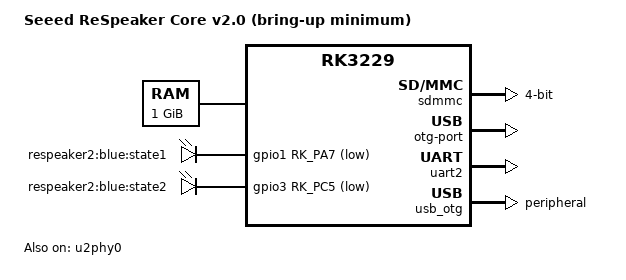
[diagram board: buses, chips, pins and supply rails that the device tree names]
// SPDX-License-Identifier: (GPL-2.0+ OR MIT)
/* Bring-up minimum for the ReSpeaker Core v2: console, LEDs, SD card, USB device port.
 * No PMIC, cpufreq, tsadc or io-domains: rails stay as the bootloader left them. */
/dts-v1/;
#include <dt-bindings/gpio/gpio.h>
#include "rk3229.dtsi"

/ {
	model = "Seeed ReSpeaker Core v2.0 (bring-up minimum)";
	compatible = "seeed,respeaker-core-v2", "rockchip,rk3229";

	aliases {
		mmc0 = &sdmmc;
		serial2 = &uart2;
	};

	chosen {
		stdout-path = "serial2:115200n8";
	};

	memory@60000000 {
		device_type = "memory";
		reg = <0x60000000 0x40000000>;
	};

	reserved-memory {
		#address-cells = <1>;
		#size-cells = <1>;
		ranges;

		trust@68400000 {
			reg = <0x68400000 0xe00000>;
			no-map;
		};
	};

	leds {
		compatible = "gpio-leds";
		pinctrl-names = "default";
		pinctrl-0 = <&gpio_leds>;

		led-0 {
			label = "respeaker2:blue:state1";
			gpios = <&gpio1 RK_PA7 GPIO_ACTIVE_LOW>;
			linux,default-trigger = "heartbeat";
			default-state = "off";
		};

		led-1 {
			label = "respeaker2:blue:state2";
			gpios = <&gpio3 RK_PC5 GPIO_ACTIVE_LOW>;
			default-state = "off";
		};
	};
};

&pinctrl {
	leds {
		gpio_leds: gpio-leds {
			rockchip,pins = <1 RK_PA7 RK_FUNC_GPIO &pcfg_pull_none>,
					<3 RK_PC5 RK_FUNC_GPIO &pcfg_pull_none>;
		};
	};
};

&sdmmc {
	bus-width = <4>;
	cap-sd-highspeed;
	card-detect-delay = <200>;
	disable-wp;
	max-frequency = <50000000>;
	status = "okay";
};

&u2phy0 {
	status = "okay";

	otg-port {
		status = "okay";
	};
};

&uart2 {
	pinctrl-names = "default";
	pinctrl-0 = <&uart21_xfer>;
	status = "okay";
};

&usb_otg {
	dr_mode = "peripheral";
	status = "okay";
};
